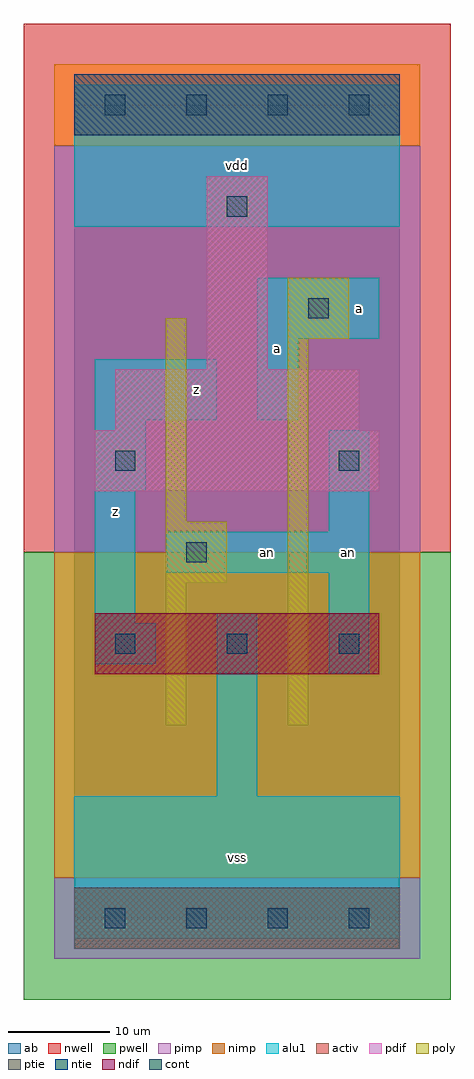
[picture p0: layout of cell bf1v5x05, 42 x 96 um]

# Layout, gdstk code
import gdstk
lib = gdstk.Library(unit=1e-6, precision=1e-09)
def R(c, l, rs):  # rectangles x0, y0, x1, y1
    for r in rs: c.add(gdstk.rectangle(r[:2], r[2:], *l))
def A(c, l, x, y, w, h, nx, ny, dx, dy):  # array of equal rectangles
    R(c, l, [(x+i*dx, y+j*dy, x+i*dx+w, y+j*dy+h) for i in range(nx) for j in range(ny)])
ndif = (3, 0)
pdif = (4, 0)
ntie = (5, 0)
ptie = (6, 0)
cont = (25, 0)
pwell = (41, 0)
nwell = (42, 0)
activ = (43, 0)
pimp = (44, 0)
nimp = (45, 0)
poly = (46, 0)
alu1 = (49, 0)
ab = (63, 0)

bf1v5x05 = lib.new_cell('bf1v5x05')
R(bf1v5x05, ndif, [(2,24,30,30)])
R(bf1v5x05, pdif, [(2,42,30,48), (4,48,28,54), (13,54,19,73)])
R(bf1v5x05, ntie, [(0,77,32,83)])
R(bf1v5x05, ptie, [(0,-3,32,3)])
A(bf1v5x05, cont, 3, -1, 2, 2, 4, 2, 8, 80)
A(bf1v5x05, cont, 4, 26, 2, 2, 3, 1, 11, 0)
R(bf1v5x05, cont, [(11,35,13,37), (4,44,6,46), (26,44,28,46), (23,59,25,61), (15,69,17,71)])
R(bf1v5x05, pwell, [(-5,-8,37,36)])
R(bf1v5x05, nwell, [(-5,36,37,88)])
R(bf1v5x05, activ, [(0,-3,32,3), (2,24,30,30), (2,42,30,48), (4,48,28,54), (13,54,19,73), (0,77,32,83)])
R(bf1v5x05, pimp, [(-2,-4,34,4), (-2,36,34,76)])
R(bf1v5x05, nimp, [(-2,4,34,36), (-2,76,34,84)])
R(bf1v5x05, poly, [(9,19,11,33), (21,19,23,57), (9,33,15,39), (9,39,11,59), (21,57,27,63)])
R(bf1v5x05, alu1, [(0,-2,32,12), (14,12,18,30), (25,24,29,34), (2,25,8,29), (2,29,6,42), (9,34,29,38), (25,38,29,48), (2,42,7,49), (2,49,14,55), (18,49,22,57), (18,57,30,63), (0,68,32,82)])
R(bf1v5x05, ab, [(0,0,32,80)])
bf1v5x05.add(gdstk.Label('an', (27,36), layer=49, texttype=0))
bf1v5x05.add(gdstk.Label('an', (19,36), layer=49, texttype=0))
bf1v5x05.add(gdstk.Label('z', (4,40), layer=49, texttype=0))
bf1v5x05.add(gdstk.Label('vss', (16,6), layer=49, texttype=0))
bf1v5x05.add(gdstk.Label('z', (12,52), layer=49, texttype=0))
bf1v5x05.add(gdstk.Label('vdd', (16,74), layer=49, texttype=0))
bf1v5x05.add(gdstk.Label('a', (20,56), layer=49, texttype=0))
bf1v5x05.add(gdstk.Label('a', (28,60), layer=49, texttype=0))

lib.write_gds('bf1v5x05.gds')
